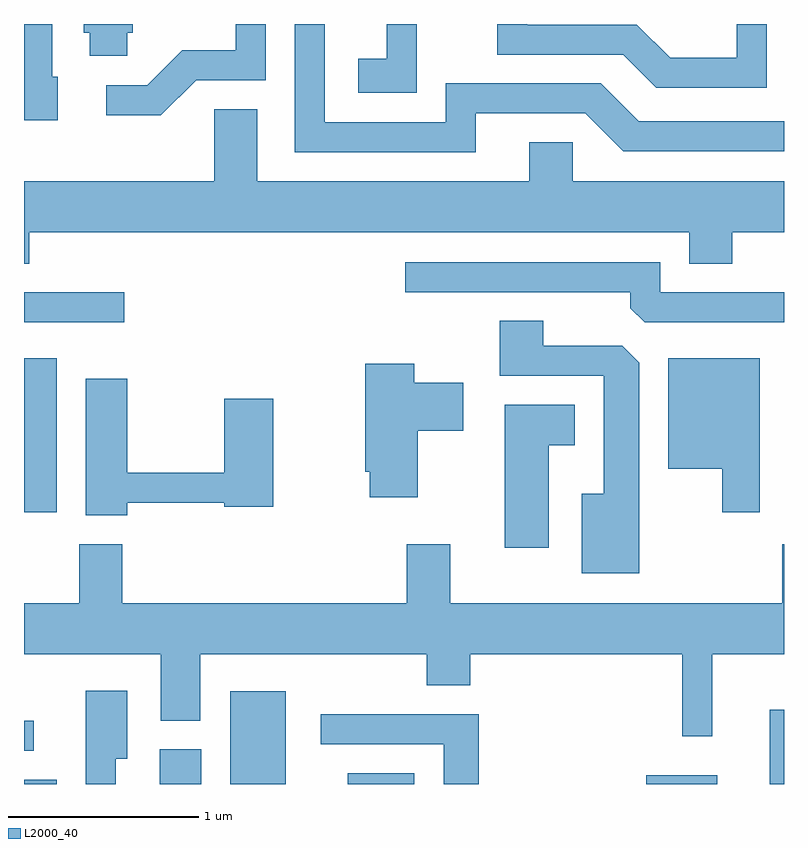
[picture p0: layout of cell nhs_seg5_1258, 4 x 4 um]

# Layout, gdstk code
import gdstk
lib = gdstk.Library(unit=1e-6, precision=1e-09)
def R(c, l, rs):  # rectangles x0, y0, x1, y1
    for r in rs: c.add(gdstk.rectangle(r[:2], r[2:], *l))
def P(c, l, *ps):  # polygons
    for p in ps: c.add(gdstk.Polygon(p, *l))
L2000_40 = (2000, 40)

nhs_seg5_1258 = lib.new_cell('nhs_seg5_1258')
R(nhs_seg5_1258, L2000_40, [(221.611,1496.072,221.784,1496.094), (222.326,1496.072,222.544,1496.254), (222.696,1496.072,222.989,1496.559), (223.316,1496.072,223.664,1496.129), (224.886,1496.072,225.259,1496.119), (225.536,1496.072,225.611,1496.464), (221.611,1496.246,221.663,1496.404), (221.611,1497.501,221.784,1498.314), (221.611,1498.501,222.138,1498.659)])
P(nhs_seg5_1258, L2000_40, [(222.517,1499.776),(222.884,1499.776),(222.884,1500.072),(222.726,1500.072),(222.726,1499.934),(222.444,1499.934),(222.259,1499.749),(222.043,1499.749),(222.043,1499.591),(222.332,1499.591)],
  [(223.989,1499.601),(224.564,1499.601),(224.764,1499.401),(225.611,1499.401),(225.611,1499.559),(224.847,1499.559),(224.647,1499.759),(223.831,1499.759),(223.831,1499.554),(223.194,1499.554),(223.194,1500.072),(223.036,1500.072),(223.036,1499.396),(223.989,1499.396)],
  [(221.789,1499.794),(221.759,1499.794),(221.759,1500.072),(221.611,1500.072),(221.611,1499.566),(221.789,1499.566)],
  [(223.679,1500.072),(223.521,1500.072),(223.521,1499.889),(223.371,1499.889),(223.371,1499.711),(223.679,1499.711)],
  [(222.154,1500.026),(222.184,1500.026),(222.184,1500.072),(221.926,1500.072),(221.926,1500.026),(221.956,1500.026),(221.956,1499.906),(222.154,1499.906)],
  [(225.519,1500.072),(225.361,1500.072),(225.361,1499.894),(225.012,1499.894),(224.837,1500.069),(224.259,1500.069),(224.259,1500.072),(224.101,1500.072),(224.101,1499.911),(224.764,1499.911),(224.939,1499.736),(225.519,1499.736)],
  [(221.639,1498.976),(225.111,1498.976),(225.111,1498.811),(225.339,1498.811),(225.339,1498.976),(225.611,1498.976),(225.611,1499.244),(224.499,1499.244),(224.499,1499.449),(224.271,1499.449),(224.271,1499.244),(222.839,1499.244),(222.839,1499.624),(222.611,1499.624),(222.611,1499.244),(221.611,1499.244),(221.611,1498.811),(221.639,1498.811)],
  [(225.611,1498.659),(224.959,1498.659),(224.959,1498.819),(223.618,1498.819),(223.618,1498.661),(224.801,1498.661),(224.801,1498.577),(224.877,1498.501),(225.611,1498.501)],
  [(224.849,1498.289),(224.759,1498.379),(224.344,1498.379),(224.344,1498.509),(224.116,1498.509),(224.116,1498.221),(224.661,1498.221),(224.661,1497.599),(224.546,1497.599),(224.546,1497.181),(224.849,1497.181)],
  [(225.484,1498.314),(225.001,1498.314),(225.001,1497.731),(225.286,1497.731),(225.286,1497.501),(225.484,1497.501)],
  [(223.684,1497.931),(223.924,1497.931),(223.924,1498.184),(223.664,1498.184),(223.664,1498.284),(223.406,1498.284),(223.406,1497.716),(223.431,1497.716),(223.431,1497.581),(223.684,1497.581)],
  [(222.154,1497.551),(222.666,1497.551),(222.666,1497.531),(222.924,1497.531),(222.924,1498.099),(222.666,1498.099),(222.666,1497.709),(222.154,1497.709),(222.154,1498.204),(221.936,1498.204),(221.936,1497.486),(222.154,1497.486)],
  [(224.374,1497.856),(224.509,1497.856),(224.509,1498.069),(224.141,1498.069),(224.141,1497.316),(224.374,1497.316)],
  [(223.854,1497.334),(223.626,1497.334),(223.626,1497.024),(222.129,1497.024),(222.129,1497.334),(221.901,1497.334),(221.901,1497.024),(221.611,1497.024),(221.611,1496.756),(222.331,1496.756),(222.331,1496.406),(222.539,1496.406),(222.539,1496.756),(223.731,1496.756),(223.731,1496.591),(223.959,1496.591),(223.959,1496.756),(225.076,1496.756),(225.076,1496.323),(225.234,1496.323),(225.234,1496.756),(225.611,1496.756),(225.611,1497.334),(225.601,1497.334),(225.601,1497.024),(223.854,1497.024)],
  [(222.094,1496.206),(222.154,1496.206),(222.154,1496.564),(221.936,1496.564),(221.936,1496.072),(222.094,1496.072)],
  [(224.004,1496.439),(223.173,1496.439),(223.173,1496.281),(223.821,1496.281),(223.821,1496.072),(224.004,1496.072)])

lib.write_gds('nhs_seg5_1258.gds')
